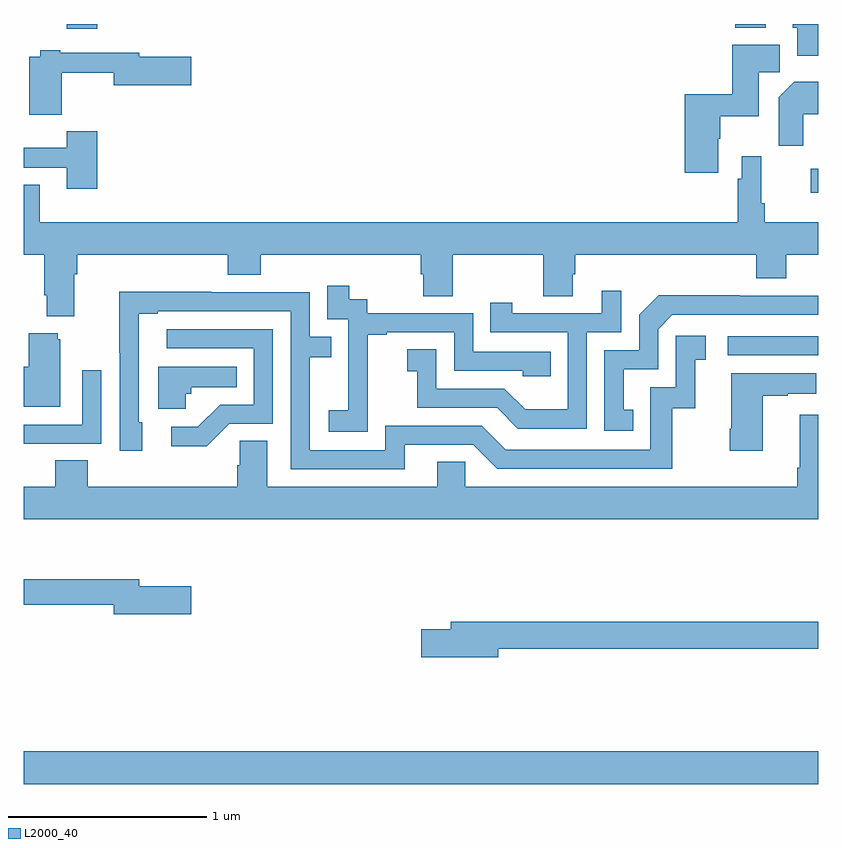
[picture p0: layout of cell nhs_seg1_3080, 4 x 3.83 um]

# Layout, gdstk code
import gdstk
lib = gdstk.Library(unit=1e-6, precision=1e-09)
def R(c, l, rs):  # rectangles x0, y0, x1, y1
    for r in rs: c.add(gdstk.rectangle(r[:2], r[2:], *l))
def P(c, l, *ps):  # polygons
    for p in ps: c.add(gdstk.Polygon(p, *l))
L2000_40 = (2000, 40)

nhs_seg1_3080 = lib.new_cell('nhs_seg1_3080')
R(nhs_seg1_3080, L2000_40, [(277,578.372,281,578.536), (280.545,580.53,281,580.626), (280.962,581.348,281,581.47), (277.217,582.174,277.37,582.199), (280.583,582.179,280.735,582.199)])
P(nhs_seg1_3080, L2000_40, [(281,582.199),(280.871,582.199),(280.871,582.18),(280.895,582.18),(280.895,582.038),(281,582.038)],
  [(280.498,581.62),(280.506,581.62),(280.506,581.735),(280.702,581.735),(280.702,581.956),(280.807,581.956),(280.807,582.094),(280.568,582.094),(280.568,581.845),(280.328,581.845),(280.328,581.451),(280.498,581.451)],
  [(277.19,581.953),(277.454,581.953),(277.454,581.891),(277.843,581.891),(277.843,582.033),(277.582,582.033),(277.582,582.054),(277.183,582.054),(277.183,582.067),(277.083,582.067),(277.083,582.034),(277.028,582.034),(277.028,581.741),(277.19,581.741)],
  [(280.924,581.744),(281,581.744),(281,581.908),(280.88,581.908),(280.802,581.83),(280.802,581.586),(280.924,581.586)],
  [(277.37,581.659),(277.215,581.659),(277.215,581.575),(277,581.575),(277,581.475),(277.217,581.475),(277.217,581.37),(277.37,581.37)],
  [(280.73,581.296),(280.713,581.296),(280.713,581.533),(280.614,581.533),(280.614,581.42),(280.594,581.42),(280.594,581.2),(277.081,581.2),(277.081,581.39),(277,581.39),(277,581.036),(277.103,581.036),(277.103,580.834),(277.115,580.834),(277.115,580.727),(277.255,580.727),(277.255,580.94),(277.268,580.94),(277.268,581.036),(278.027,581.036),(278.027,580.937),(278.192,580.937),(278.192,581.036),(278.999,581.036),(278.999,580.938),(279.011,580.938),(279.011,580.828),(279.159,580.828),(279.159,581.036),(279.616,581.036),(279.616,580.828),(279.763,580.828),(279.763,580.938),(279.776,580.938),(279.776,581.036),(280.688,581.036),(280.688,580.919),(280.84,580.919),(280.84,581.036),(281,581.036),(281,581.2),(280.73,581.2)],
  [(278.733,580.351),(278.732,580.351),(278.732,580.635),(278.827,580.635),(278.827,580.647),(279.168,580.647),(279.168,580.452),(279.513,580.452),(279.513,580.425),(279.653,580.425),(279.653,580.548),(279.264,580.548),(279.264,580.743),(278.73,580.743),(278.73,580.812),(278.638,580.812),(278.638,580.882),(278.529,580.882),(278.529,580.713),(278.634,580.713),(278.634,580.484),(278.633,580.484),(278.633,580.255),(278.535,580.255),(278.535,580.145),(278.733,580.145)],
  [(279.834,580.647),(280.008,580.647),(280.008,580.855),(279.911,580.855),(279.911,580.743),(279.46,580.743),(279.46,580.795),(279.349,580.795),(279.349,580.647),(279.738,580.647),(279.738,580.258),(279.524,580.258),(279.42,580.362),(279.078,580.362),(279.078,580.561),(278.931,580.561),(278.931,580.451),(278.98,580.451),(278.98,580.266),(279.383,580.266),(279.488,580.161),(279.834,580.161)],
  [(278.917,580.08),(279.264,580.08),(279.384,579.96),(280.264,579.96),(280.264,580.263),(280.382,580.263),(280.382,580.509),(280.435,580.509),(280.435,580.63),(280.284,580.63),(280.284,580.371),(280.155,580.371),(280.155,580.056),(279.426,580.056),(279.306,580.176),(278.82,580.176),(278.82,580.053),(278.439,580.053),(278.439,580.522),(278.549,580.522),(278.549,580.623),(278.439,580.623),(278.439,580.848),(277.943,580.848),(277.943,580.85),(277.48,580.85),(277.48,580.543),(277.482,580.543),(277.482,580.05),(277.597,580.05),(277.597,580.194),(277.578,580.194),(277.578,580.74),(277.675,580.74),(277.675,580.752),(278.343,580.752),(278.343,579.957),(278.917,579.957)],
  [(280.07,580.257),(280.021,580.257),(280.021,580.461),(280.194,580.461),(280.194,580.662),(280.266,580.734),(281,580.734),(281,580.83),(280.604,580.83),(280.604,580.832),(280.196,580.832),(280.098,580.734),(280.098,580.557),(279.924,580.557),(279.924,580.152),(280.07,580.152)],
  [(278.005,580.156),(278.034,580.185),(278.253,580.185),(278.253,580.662),(277.719,580.662),(277.719,580.566),(278.157,580.566),(278.157,580.281),(277.988,580.281),(277.877,580.17),(277.743,580.17),(277.743,580.073),(277.921,580.073)],
  [(277.183,580.611),(277.172,580.611),(277.172,580.642),(277.025,580.642),(277.025,580.474),(277,580.474),(277,580.271),(277.183,580.271)],
  [(277.815,580.338),(277.842,580.338),(277.842,580.37),(278.072,580.37),(278.072,580.474),(277.676,580.474),(277.676,580.262),(277.815,580.262)],
  [(277.073,580.086),(277.389,580.086),(277.389,580.456),(277.293,580.456),(277.293,580.182),(277,580.182),(277,580.085),(277.073,580.085)],
  [(280.72,580.327),(280.847,580.327),(280.847,580.337),(280.99,580.337),(280.99,580.441),(280.562,580.441),(280.562,580.162),(280.555,580.162),(280.555,580.05),(280.72,580.05)],
  [(281,580.231),(280.907,580.231),(280.907,579.964),(280.895,579.964),(280.895,579.868),(279.222,579.868),(279.222,579.995),(279.083,579.995),(279.083,579.868),(278.227,579.868),(278.227,580.1),(278.088,580.1),(278.088,579.977),(278.075,579.977),(278.075,579.868),(277.322,579.868),(277.322,580.001),(277.157,580.001),(277.157,579.868),(277,579.868),(277,579.704),(281,579.704)],
  [(277.843,579.369),(277.582,579.369),(277.582,579.403),(277,579.403),(277,579.274),(277.454,579.274),(277.454,579.227),(277.843,579.227)],
  [(279.388,579.052),(281,579.052),(281,579.188),(279.149,579.188),(279.149,579.152),(279,579.152),(279,579.01),(279.388,579.01)])

lib.write_gds('nhs_seg1_3080.gds')
